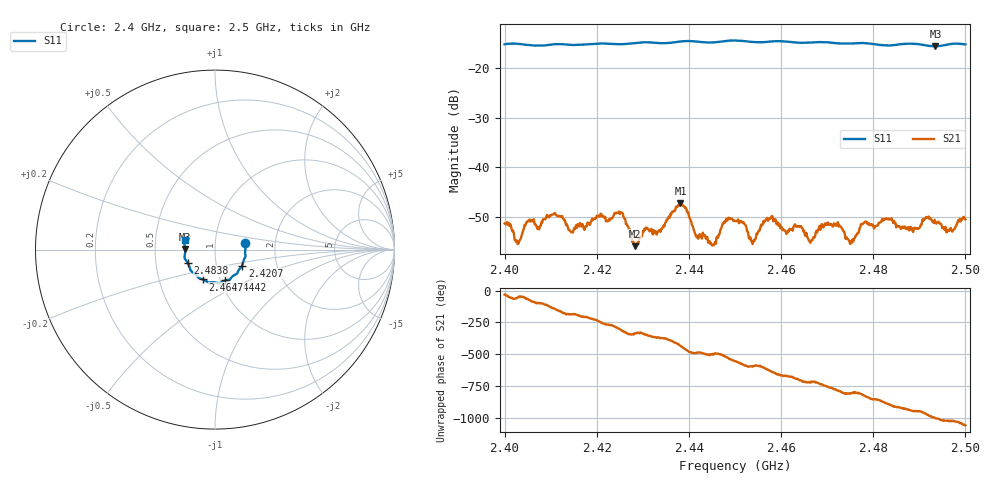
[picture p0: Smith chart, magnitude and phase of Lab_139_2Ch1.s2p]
# Hz S RI R 50
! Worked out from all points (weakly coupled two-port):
!   601 points, 2.4 GHz to 2.5 GHz, reference 50 ohm
!   highest |S21| = -47.25 dB at 2.4382 GHz (marker M1); lowest = -55.8 dB at 2.4283 GHz (marker M2)
!   lowest |S11| = -15.6 dB at 2.4935 GHz (marker M3), VSWR 1.40, Z = 35.8 + j0.129 ohm
!   |S11| at or under -10 dB: start of sweep to end of sweep
!   S12 and S22 are empty: the file has one direction only
!   S11 on the Smith chart (normalised r, x): 2.4 GHz: 1.40, +0.11; 2.4207 GHz: 1.33, -0.24; 2.4442 GHz: 1.05, -0.37; 2.4647 GHz: 0.83, -0.29; 2.4838 GHz: 0.73, -0.11; 2.5 GHz: 0.71, +0.08
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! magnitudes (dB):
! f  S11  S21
! 2.4 GHz  -15.2  -51.3
! 2.4028 GHz  -15.1  -55.4
! 2.405 GHz  -15.4  -50.9
! 2.4105 GHz  -15.2  -49.5
! 2.4167 GHz  -15.3  -51.9
! 2.4207 GHz  -15.1  -49.9
! 2.4252 GHz  -15.2  -49.0
! 2.4283 GHz  -15.0  -55.8
! 2.4333 GHz  -15.0  -52.9
! 2.4382 GHz  -14.7  -47.2
! 2.4442 GHz  -14.9  -55.2
! 2.45 GHz  -14.5  -50.8
! 2.454 GHz  -14.8  -54.7
! 2.4575 GHz  -14.7  -50.4
! 2.4647 GHz  -14.9  -52.3
! 2.4667 GHz  -14.9  -54.7
! 2.472 GHz  -15.0  -51.8
! 2.4752 GHz  -15.1  -54.8
! 2.4833 GHz  -15.5  -50.3
! 2.4838 GHz  -15.4  -50.4
! 2.4935 GHz  -15.6  -51.1
! 2.5 GHz  -15.2  -50.5
